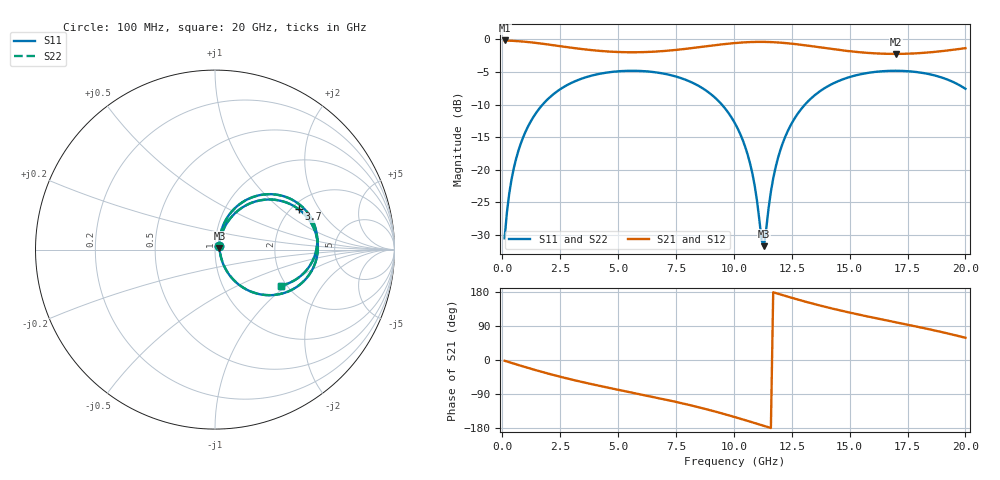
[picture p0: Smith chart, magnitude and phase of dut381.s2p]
! Touchstone file exported from HFSS 2026.1.0
!  File:  C:/ffzhzh/LocalFiles/Ansys_Project_Files/temp_train_TSV_RDL_381_1783042296_55676.aedt
!  Generated:  09:49:30 AM Jul  3, 2026
!  Design:  TSV_RDL
!  Project:  temp_train_TSV_RDL_381_1783042296_55676
! Variables:
!  h_bsmrdl = 4.51um
!  h_ox = 20um
!  h_rdl = 5um
!  h_sub = 69.35um
!  h_tmrdl = 3.98um
!  h_tsv = 69.35um
!  h_via = 3um
!  l_bsmrdl = 536.89um
!  l_sub = 5264.74um
!  l_tmrdl = 779.67um
!  m_sub = 200um
!  pitch = 56.4um
!  r_tsv = 11.55um
!  s_tmrdl = 10um
!  w_bsmrdl = 27.36um
!  w_sub = 500um
!  w_tmrdl = 17.77um
!  x_tsv_center1 = 788.555um
!  x_tsv_center2 = 1352.805um
!  x_tsv_center3 = 2150.245um
!  x_tsv_center4 = 2714.495um
!  x_tsv_center5 = 3511.935um
!  x_tsv_center6 = 4076.185um
# GHz S MA R 50.000000
! Terminal data exported
! Port[1] = TM_RDL1_1_T1
! Port[2] = TM_RDL5_1_T1
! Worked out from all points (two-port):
!   200 points, 100 MHz to 20 GHz, reference 50 ohm
!   highest |S21| = -0.19 dB at 100 MHz (marker M1); lowest = -2.2 dB at 17 GHz (marker M2)
!   |S21| within 3 dB of the highest: start of sweep to end of sweep
!   lowest |S11| = -31.7 dB at 11.3 GHz (marker M3), VSWR 1.05, Z = 52.5 + j0.788 ohm
!   |S11| at or under -10 dB: start of sweep to 1.745 GHz; 9.479 GHz to 13.07 GHz (3.596 GHz wide, 31.9 % of centre)
!   |S22| runs from -31.5 to -4.8 dB; largest |S21 - S12| = 1.7e-14
!   S11 on the Smith chart (normalised r, x): 100 MHz: 1.04, +0.04; 3.7 GHz: 2.17, +1.34; 20 GHz: 1.87, -0.91
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0.1  0.02989 43.3  0.9787 -2.0  0.9787 -2.0  0.02989 43.3
! Gamma 0 0 0 0
! Port Impedance 50 0 50 0
0.3  0.06582 64.0  0.9754 -5.8  0.9754 -5.8  0.06582 64.0
0.5  0.1034 67.1  0.9712 -9.6  0.9712 -9.6  0.1034 67.1
1.1  0.2126 62.6  0.9524 -20.7  0.9524 -20.7  0.2126 62.6
2.1  0.3656 48.2  0.9054 -37.8  0.9054 -37.8  0.3656 48.2
3.5  0.5041 28.5  0.8385 -58.8  0.8385 -58.8  0.5041 28.5
3.7  0.5172 25.9  0.8309 -61.6  0.8309 -61.6  0.5172 25.9
5.3  0.5721 6.0  0.7957 -82.2  0.7957 -82.2  0.5721 6.0
6.8  0.5521 -12.2  0.8082 -101.2  0.8082 -101.2  0.5521 -12.2
8.8  0.4047 -38.8  0.8825 -129.7  0.8825 -129.7  0.4047 -38.8
10.1  0.2182 -57.1  0.9368 -151.6  0.9368 -151.6  0.2183 -57.0
10.7  0.1119 -61.4  0.9512 -162.6  0.9512 -162.6  0.112 -61.1
11.3  0.02601 16.7  0.9542 -173.8  0.9542 -173.8  0.02664 16.5
11.6  0.06792 67.1  0.951 -179.5  0.951 -179.5  0.06819 66.6
12  0.1401 71.4  0.942 173.1  0.942 173.1  0.1403 71.2
12.6  0.2435 65.4  0.9205 162.4  0.9205 162.4  0.2435 65.3
13.4  0.3608 54.3  0.8827 148.9  0.8827 148.9  0.3608 54.2
14.8  0.4999 35.2  0.8172 127.9  0.8172 127.9  0.5 35.1
16.7  0.5725 12.1  0.7729 103.2  0.7729 103.2  0.5725 12.0
17  0.5736 8.5  0.7721 99.5  0.7721 99.5  0.5736 8.5
18.5  0.5371 -9.3  0.7948 80.3  0.7948 80.3  0.5371 -9.4
20  0.4175 -28.8  0.8544 58.6  0.8544 58.6  0.4175 -28.8
